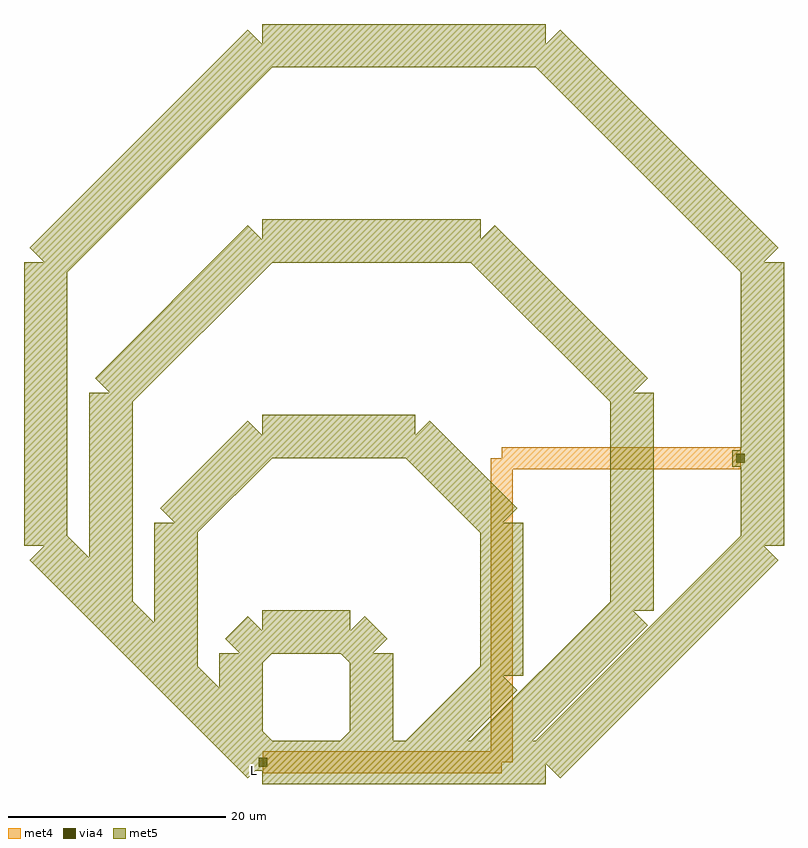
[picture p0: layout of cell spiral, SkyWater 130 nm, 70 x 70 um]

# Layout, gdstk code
import gdstk
lib = gdstk.Library(unit=1e-6, precision=1e-09)
def R(c, l, rs):  # rectangles x0, y0, x1, y1
    for r in rs: c.add(gdstk.rectangle(r[:2], r[2:], *l))
def P(c, l, *ps):  # polygons
    for p in ps: c.add(gdstk.Polygon(p, *l))
met4 = (71, 20)
via4 = (71, 44)
met5 = (72, 20)

spiral = lib.new_cell('spiral')
R(spiral, met4, [(0,-1,22,1), (21,0,23,28), (22,27,44,29)])
R(spiral, via4, [(-0.4,-0.4,0.4,0.4), (43.6,27.6,44.4,28.4)])
R(spiral, met5, [(-0.05,-2,8.05,2), (-0.05,-2,14.05,2), (-0.05,-2,20.05,2), (-0.05,-2,26.05,2), (-0.76,-0.76,0.76,0.76), (-0.76,-0.76,0.76,0.76), (-4,1.95,0,10.05), (8,1.95,12,10.05), (-10,7.95,-6,22.05), (20,7.95,24,22.05), (-0.05,10,8.05,14), (-16,13.95,-12,34.05), (32,13.95,36,34.05), (-22,19.95,-18,46.05), (44,19.95,48,46.05), (43.24,27.24,44.76,28.76), (-0.05,28,14.05,32), (-0.05,46,20.05,50), (-0.05,64,26.05,68)])
P(spiral, met5, [(9.379,-1.45),(6.55,1.379),(8.621,3.45),(11.45,0.621)],
  [(8.621,8.55),(6.55,10.621),(9.379,13.45),(11.45,11.379)],
  [(-0.621,8.55),(-3.45,11.379),(-1.379,13.45),(1.45,10.621)],
  [(-1.379,-1.45),(-3.45,0.621),(-0.621,3.45),(1.45,1.379)],
  [(15.379,-1.45),(12.55,1.379),(20.621,9.45),(23.45,6.621)],
  [(20.621,20.55),(12.55,28.621),(15.379,31.45),(23.45,23.379)],
  [(-6.621,20.55),(-9.45,23.379),(-1.379,31.45),(1.45,28.621)],
  [(-1.379,-1.45),(-9.45,6.621),(-6.621,9.45),(1.45,1.379)],
  [(21.379,-1.45),(18.55,1.379),(32.621,15.45),(35.45,12.621)],
  [(32.621,32.55),(18.55,46.621),(21.379,49.45),(35.45,35.379)],
  [(-12.621,32.55),(-15.45,35.379),(-1.379,49.45),(1.45,46.621)],
  [(-1.379,-1.45),(-15.45,12.621),(-12.621,15.45),(1.45,1.379)],
  [(27.379,-1.45),(24.55,1.379),(44.621,21.45),(47.45,18.621)],
  [(44.621,44.55),(24.55,64.621),(27.379,67.45),(47.45,47.379)],
  [(-18.621,44.55),(-21.45,47.379),(-1.379,67.45),(1.45,64.621)],
  [(-1.379,-1.45),(-21.45,18.621),(-18.621,21.45),(1.45,1.379)])
spiral.add(gdstk.Label('L', (-0.76,-0.76), layer=72, texttype=5))
spiral.add(gdstk.Label('L', (0,0), layer=72, texttype=5))

lib.write_gds('spiral.gds')
